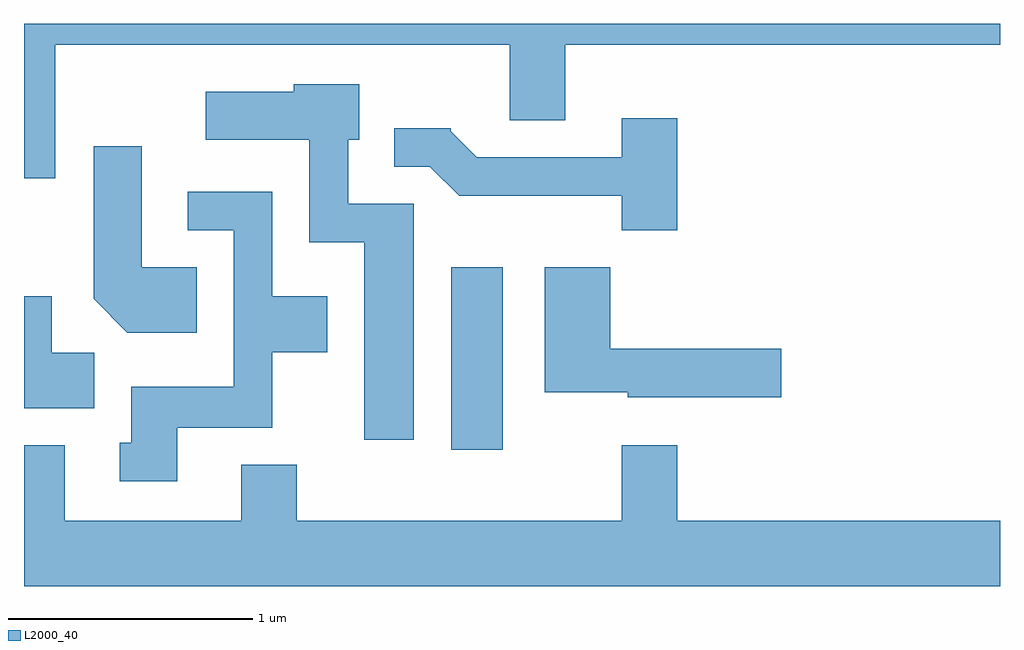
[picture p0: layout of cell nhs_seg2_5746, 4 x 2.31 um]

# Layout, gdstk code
import gdstk
lib = gdstk.Library(unit=1e-6, precision=1e-09)
def R(c, l, rs):  # rectangles x0, y0, x1, y1
    for r in rs: c.add(gdstk.rectangle(r[:2], r[2:], *l))
def P(c, l, *ps):  # polygons
    for p in ps: c.add(gdstk.Polygon(p, *l))
L2000_40 = (2000, 40)

nhs_seg2_5746 = lib.new_cell('nhs_seg2_5746')
R(nhs_seg2_5746, L2000_40, [(357.361,980.056,357.574,980.804)])
P(nhs_seg2_5746, L2000_40, [(355.739,981.716),(357.601,981.716),(357.601,981.406),(357.829,981.406),(357.829,981.716),(359.611,981.716),(359.611,981.802),(355.611,981.802),(355.611,981.168),(355.739,981.168)],
  [(357.209,981.064),(356.939,981.064),(356.939,981.326),(356.984,981.326),(356.984,981.554),(356.716,981.554),(356.716,981.524),(356.356,981.524),(356.356,981.326),(356.781,981.326),(356.781,980.906),(357.006,980.906),(357.006,980.096),(357.209,980.096)],
  [(358.289,981.414),(358.061,981.414),(358.061,981.254),(357.467,981.254),(357.36,981.361),(357.36,981.374),(357.128,981.374),(357.128,981.216),(357.274,981.216),(357.394,981.096),(358.061,981.096),(358.061,980.956),(358.289,980.956)],
  [(356.319,980.804),(356.094,980.804),(356.094,981.299),(355.896,981.299),(355.896,980.674),(356.034,980.536),(356.319,980.536)],
  [(356.239,980.146),(356.629,980.146),(356.629,980.456),(356.854,980.456),(356.854,980.684),(356.629,980.684),(356.629,981.114),(356.283,981.114),(356.283,980.956),(356.471,980.956),(356.471,980.314),(356.051,980.314),(356.051,980.084),(356.003,980.084),(356.003,979.926),(356.239,979.926)],
  [(358.714,980.469),(358.014,980.469),(358.014,980.804),(357.746,980.804),(357.746,980.291),(358.086,980.291),(358.086,980.271),(358.714,980.271)],
  [(355.899,980.454),(355.724,980.454),(355.724,980.684),(355.611,980.684),(355.611,980.226),(355.899,980.226)],
  [(359.611,979.764),(358.289,979.764),(358.289,980.074),(358.061,980.074),(358.061,979.764),(356.729,979.764),(356.729,979.994),(356.501,979.994),(356.501,979.764),(355.779,979.764),(355.779,980.074),(355.611,980.074),(355.611,979.496),(359.611,979.496)])

lib.write_gds('nhs_seg2_5746.gds')
